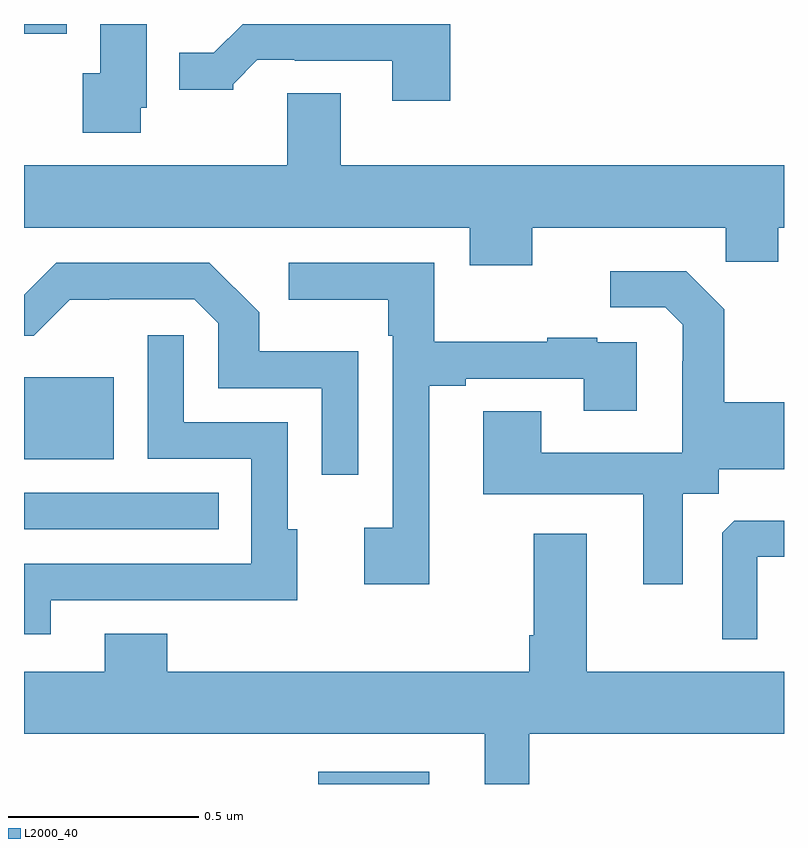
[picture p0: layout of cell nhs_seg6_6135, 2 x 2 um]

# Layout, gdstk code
import gdstk
lib = gdstk.Library(unit=1e-6, precision=1e-09)
def R(c, l, rs):  # rectangles x0, y0, x1, y1
    for r in rs: c.add(gdstk.rectangle(r[:2], r[2:], *l))
def P(c, l, *ps):  # polygons
    for p in ps: c.add(gdstk.Polygon(p, *l))
L2000_40 = (2000, 40)

nhs_seg6_6135 = lib.new_cell('nhs_seg6_6135')
R(nhs_seg6_6135, L2000_40, [(191.774,984.5,192.067,984.532), (191,985.17,191.513,985.266), (191,985.355,191.236,985.57), (191,986.475,191.112,986.5)])
P(nhs_seg6_6135, L2000_40, [(191.307,986.28),(191.323,986.28),(191.323,986.5),(191.201,986.5),(191.201,986.37),(191.155,986.37),(191.155,986.214),(191.307,986.214)],
  [(192.122,986.5),(191.575,986.5),(191.499,986.424),(191.408,986.424),(191.408,986.327),(191.55,986.327),(191.55,986.342),(191.614,986.406),(191.713,986.406),(191.713,986.403),(191.969,986.403),(191.969,986.298),(192.122,986.298)],
  [(192.337,985.964),(192.847,985.964),(192.847,985.874),(192.985,985.874),(192.985,985.964),(193,985.964),(193,986.128),(191.833,986.128),(191.833,986.318),(191.693,986.318),(191.693,986.128),(191,986.128),(191,985.964),(192.173,985.964),(192.173,985.865),(192.337,985.865)],
  [(191.88,985.639),(191.619,985.639),(191.619,985.742),(191.488,985.872),(191.085,985.872),(191,985.787),(191,985.68),(191.025,985.68),(191.12,985.775),(191.224,985.775),(191.224,985.776),(191.448,985.776),(191.511,985.713),(191.511,985.542),(191.784,985.542),(191.784,985.314),(191.88,985.314)],
  [(192.067,985.548),(192.163,985.548),(192.163,985.566),(192.473,985.566),(192.473,985.482),(192.613,985.482),(192.613,985.662),(192.509,985.662),(192.509,985.675),(192.377,985.675),(192.377,985.664),(192.079,985.664),(192.079,985.872),(191.697,985.872),(191.697,985.775),(191.958,985.775),(191.958,985.679),(191.97,985.679),(191.97,985.174),(191.895,985.174),(191.895,985.026),(192.067,985.026)],
  [(192.733,985.264),(192.828,985.264),(192.828,985.328),(193,985.328),(193,985.504),(192.843,985.504),(192.843,985.749),(192.743,985.849),(192.543,985.849),(192.543,985.755),(192.687,985.755),(192.734,985.708),(192.734,985.613),(192.732,985.613),(192.732,985.372),(192.361,985.372),(192.361,985.481),(192.209,985.481),(192.209,985.262),(192.629,985.262),(192.629,985.026),(192.733,985.026)],
  [(191.071,984.984),(191.501,984.984),(191.501,984.983),(191.719,984.983),(191.719,985.17),(191.694,985.17),(191.694,985.452),(191.421,985.452),(191.421,985.681),(191.325,985.681),(191.325,985.356),(191.598,985.356),(191.598,985.08),(191,985.08),(191,984.894),(191.071,984.894)],
  [(192.93,985.098),(193,985.098),(193,985.193),(192.869,985.193),(192.837,985.161),(192.837,984.881),(192.93,984.881)],
  [(191.377,984.895),(191.213,984.895),(191.213,984.796),(191,984.796),(191,984.632),(192.212,984.632),(192.212,984.5),(192.329,984.5),(192.329,984.632),(193,984.632),(193,984.796),(192.481,984.796),(192.481,985.159),(192.341,985.159),(192.341,984.892),(192.329,984.892),(192.329,984.796),(191.377,984.796)])

lib.write_gds('nhs_seg6_6135.gds')
